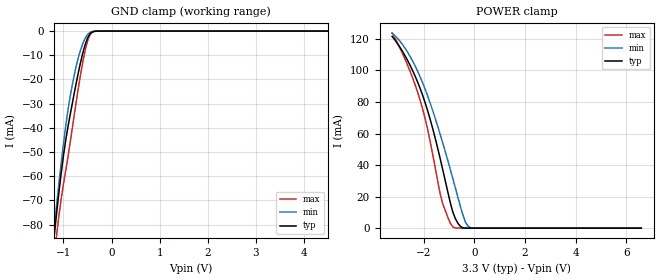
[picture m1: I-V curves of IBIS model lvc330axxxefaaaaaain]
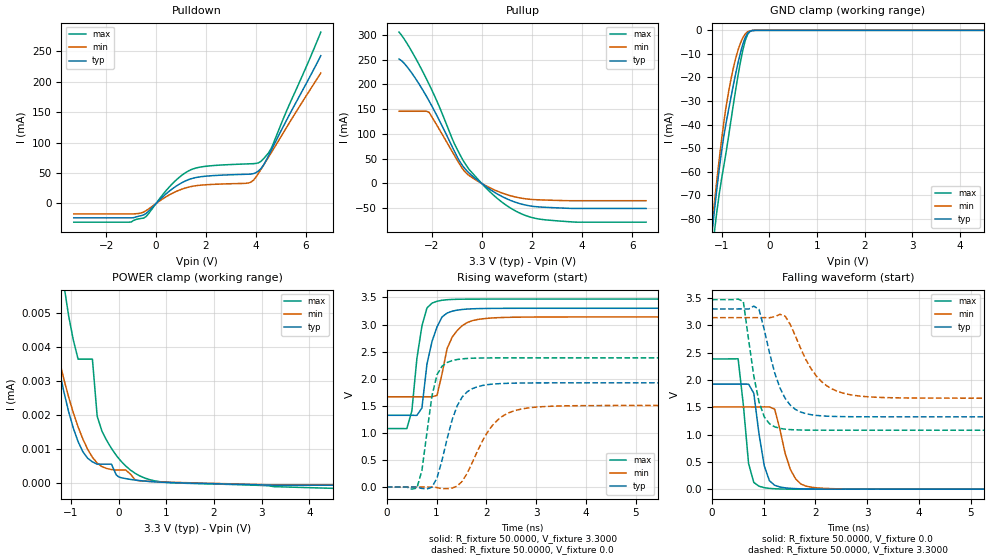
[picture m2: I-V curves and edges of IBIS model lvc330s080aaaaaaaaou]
| IBIS Models Generator: Lattice Diamond (64-bit) 3.14.0.75.2
| Generate date: Sat Mar 28 03:20:32 2026
| IBIS File LibisMaker.ibs
| LibisGen v2.0.1.0, 02/25/2008, Lattice Semiconductor Corporation
| Modified by LibisMaker v2.0.1.0, 02/25/2008, Lattice Semiconductor
| North Carolina State University, ERL, 2006
[IBIS ver]   3.2
[File Name]   Scope_impl1.ibs
[File Rev]   3.6
[Date]   Thu Aug  3 04:51:03 PDT 2023
[Source]   Lattice Semiconductor cs200fl Process
   LCMXO2-1200HC   FINAL
   Lattice Semiconductor has worked hard to ensure the
   models below are accurate and complete.  However, the
   data below was generated using simulation of the
   input/output model files for the silicon.  Therefore,
   the data below is for reference and initial design
   purposes only.
   Lattice Semiconductor grants permission to use this
   data for use in printed circuit design using this
   Lattice programmable logic device.  Other use of this
   code, including the selling or duplication of any
   portion is strictly prohibited.
|   NAMING CONVENTION
   The IBIS [Model] header is limited by the specification to a
   total of characters.  With such a set of characters available
   for naming models it becomes important to attempt to
   meaningfully encode the IO standards so they fit within the
   twenty character limit.  It would seem that twenty characters
   would provide room enough for describing IO's.  However, the
   PLD IO structure continues to grow more and more complex.  The
   complexity is making the twenty characters insuffiently
   descriptive.  In order to overcome this issue the naming
   convention described below is implemented to resolve the issue.
The twenty character space is managed as follows:
   bbbvvvsdddprugtcoixx
   b = standard
   v = voltage (x.xx V)
   s = slew code
   d = drive (xx.x ma)
   p = pullup code
   r = series resistance  or bank_vccio code
   u = terminate to vcc code
   g = terminate to gnd code
   t = terminate to vtt code
   c = common mode termination mode
   o = diff resistor code
   i = diff resistor current code
   x = reserved
   standard
   lvcmos   lvc
   lvcmosd   lvd
   lvcmosr   lvr
   lvds25e   lve
   lvttl   lvt
   lvttld   ltd
   pci   pci
   sstl_I   ss1
   sstl_II   ss2
   sstld_I   s1d
   sstld_II   s2d
   hstl_i   hs1
   hstl_ii   hs2
   hstld_i   h1d
   hstld_ii   h2d
   lvds25   lvs
   blvds25   blv
   blvds25e   blv
   mlvds25   mlv
   mlvds25e   mlv
   lvpecl33   lvp
   lvpecl33e   lvp
   rsds25   rsd
   rsds25e   rse
   mipi   mip
   mipi_lp   mip
   vref1   vr1
   vref2   vr2
   ref_res   rer
   slew
   na   a
   fast   f
   slow   s
   pullmode
   off   a
   pullup   b
   pulldown   c
   bushold   d
   clamp   e
   up_clamp   f
   down_clamp   g
   keeper_clamp   h
   impedance or Bank_vccio
   off   a
   25   b
   33   c
   50   d
   100   e
   3.3   f
   2.5   g
   1.8   h
   1.5   i
   1.2   j
   termVCC
   off   a
   50   b
   100   c
   120   d
   termGND
   off   a
   50   b
   100   c
   120   d
   termVTT
   off   a
   60   b
   75   c
   120   d
   150   e
   210   f
   VCMT
   off   a
   VCMT   b
   VTT   c
   DDR-2   d
   differential resistor
   off   a
   100   b
   diff drive
   NA   a
   2.0   b
   3.5   c
   1.25   f
   2.5   g
   Reserved   IO type
   in   input only
   ou   output
   io   I/O
   od   Open drain
   on   Inverting differential I/O
   (signal name only)
   op   Non-Inverting differential I/O
   (signal name only)
   Lattice Semiconductor Corporation
   5555 NE Moore Court
   Hillsboro, OR 97214
   U.S.A
   TEL: 1-800-Lattice (USA and Canada)
   408-826-6000 (other locations)
   web: http://www.latticesemi.com/
   email: techsupport@latticesemi.com
[Disclaimer] This IBIS source code is intended as a design reference
   which illustrates how the Lattice Semiconductor device operates.
   It is the user's responsibility to verify their design for
   consistency and functionality through the use of formal
   verification methods.  Lattice Semiconductor provides no warranty
   regarding the use or functionality of this data.
[Copyright]   Copyright 2007 by Lattice Semiconductor Corporation
|   Component XO2
[Component]   XO2
[Manufacturer]   Lattice Semiconductor Corp.
[Package]
|TQFP100
| variable   typ   min   max
R_pkg   150.5m   124.0m   187.0m
L_pkg   6.27nH   5.50nH   7.16nH
C_pkg   0.95pF   0.87pF   1.07pF
[Pin] signal_name   model_name   R_pin   L_pin   C_pin
85   ch_data[0]   lvc330s080aaaaaaaaou
70   ch_data[10]   lvc330s080aaaaaaaaou
69   ch_data[11]   lvc330s080aaaaaaaaou
68   ch_data[12]   lvc330s080aaaaaaaaou
67   ch_data[13]   lvc330s080aaaaaaaaou
66   ch_data[14]   lvc330s080aaaaaaaaou
65   ch_data[15]   lvc330s080aaaaaaaaou
64   ch_data[16]   lvc330s080aaaaaaaaou
63   ch_data[17]   lvc330s080aaaaaaaaou
62   ch_data[18]   lvc330s080aaaaaaaaou
61   ch_data[19]   lvc330s080aaaaaaaaou
84   ch_data[1]   lvc330s080aaaaaaaaou
60   ch_data[20]   lvc330s080aaaaaaaaou
59   ch_data[21]   lvc330s080aaaaaaaaou
58   ch_data[22]   lvc330s080aaaaaaaaou
57   ch_data[23]   lvc330s080aaaaaaaaou
54   ch_data[24]   lvc330s080aaaaaaaaou
53   ch_data[25]   lvc330s080aaaaaaaaou
52   ch_data[26]   lvc330s080aaaaaaaaou
51   ch_data[27]   lvc330s080aaaaaaaaou
43   ch_data[28]   lvc330s080aaaaaaaaou
42   ch_data[29]   lvc330s080aaaaaaaaou
83   ch_data[2]   lvc330s080aaaaaaaaou
41   ch_data[30]   lvc330s080aaaaaaaaou
40   ch_data[31]   lvc330s080aaaaaaaaou
82   ch_data[3]   lvc330s080aaaaaaaaou
78   ch_data[4]   lvc330s080aaaaaaaaou
77   ch_data[5]   lvc330s080aaaaaaaaou
76   ch_data[6]   lvc330s080aaaaaaaaou
75   ch_data[7]   lvc330s080aaaaaaaaou
74   ch_data[8]   lvc330s080aaaaaaaaou
71   ch_data[9]   lvc330s080aaaaaaaaou
87   hract   lvc330s080aaaaaaaaou
88   hrclk   lvc330s080aaaaaaaaou
39   hrvld   lvc330s080aaaaaaaaou
38   htack   lvc330axxxefaaaaaain
86   htclk   lvc330axxxefaaaaaain
| Models and submodels in the file (2): lvc330axxxefaaaaaain (Input), lvc330s080aaaaaaaaou (Output)
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[Model]   lvc330axxxefaaaaaain
Model_type   Input
Polarity   Non-Inverting
Enable   Active-Low
Vinl =   0.8000V
Vinh =   2.0000V
C_comp   4.2000pF   3.8000pF   7.5000pF
[Temperature Range]   25.0000   0.1250k   -40.0000
[Voltage Range]   3.3000V   3.1400V   3.4700V
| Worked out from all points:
|   GND clamp passes 1 mA (typ) near -0.44 V on its own axis
|   POWER clamp passes 1 mA (typ) near -0.54 V on its own axis
[GND_clamp]
|Voltage   I(typ)   I(min)   I(max)
-3.3V     -955.3mA   -930.3mA   -978mA
-1.2V     -86.18mA   -82.93mA   -94.91mA
-1.15V    -76.73mA   -73.29mA   -85.74mA
-1.1V     -67.71mA   -63.95mA   -77.28mA
-1V       -51.52mA   -46.57mA   -63.21mA
-900mV    -38.87mA   -31.88mA   -51.26mA
-800mV    -28.25mA   -20.58mA   -37.97mA
-700mV    -18.1mA    -11.63mA   -24.81mA
-600mV    -9.267mA   -5.265mA   -13.06mA
-450mV    -1.181mA   -586.6uA   -1.592mA
-250mV    -3.532uA   -4.055uA   -3.003uA
6.6V      0A         0A         0A
[POWER_clamp]
|Voltage   I(typ)   I(min)   I(max)
-3.25V    121.6mA    123.7mA    123.8mA
-2.55V    103.6mA    109.2mA    99.91mA
-2.05V    84.55mA    92.42mA    76.01mA
-1.85V    74.75mA    84.09mA    62.98mA
-1.65V    63.47mA    74.86mA    47.24mA
-1.35V    44.14mA    59.56mA    21.79mA
-1.25V    37.23mA    54.16mA    15.46mA
-850mV    10.22mA    31.49mA    813uA
-650mV    3.122mA    19.66mA    19.66uA
-350mV    37.56uA    3.815mA    1.535uA
-150mV    934.2nA    336.7uA    1.026uA
6.6V      -57.56nA   -49.34nA   -232.5nA
[Model]   lvc330s080aaaaaaaaou
Model_type   Output
Polarity   Non-Inverting
Enable   Active-Low
Vmeas =   1.500000V
Cref =   0.0F
Rref =   1.0000M
Vref =   0.0V
C_comp   4.2000pF   3.8000pF   7.5000pF
[Temperature Range]   25.0000   0.1250k   -40.0000
[Voltage Range]   3.3000V   3.1400V   3.4700V
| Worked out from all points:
|   slope of the pulldown table from 0 to 0.495 V, typ, clamps not added: 26 ohm
|   slope of the pullup table from 0 to 0.495 V, typ, clamps not added: 28.5 ohm
|   GND clamp passes 1 mA (typ) near -0.44 V on its own axis
|   rising waveform, R_fixture 50.0000, V_fixture 3.3000: 20-80 % time 251ps typ, 301ps min, 192ps max; typ from 1.32 V to 3.3 V
|   rising waveform, R_fixture 50.0000, V_fixture 0.0: 20-80 % time 363ps typ, 551ps min, 235ps max; typ from 0 V to 1.92 V
|   falling waveform, R_fixture 50.0000, V_fixture 0.0: 20-80 % time 188ps typ, 267ps min, 144ps max; typ from 1.92 V to 0 V
|   falling waveform, R_fixture 50.0000, V_fixture 3.3000: 20-80 % time 370ps typ, 535ps min, 253ps max; typ from 3.3 V to 1.32 V
[Pulldown]
|Voltage   I(typ)   I(min)   I(max)
-3.3V     -23.68mA   -17.2mA    -30.83mA
-1.1V     -23.68mA   -17.2mA    -30.83mA
-500mV    -18.89mA   -14.22mA   -24.07mA
-400mV    -16.44mA   -11.92mA   -21.58mA
600mV     22.43mA    15.62mA    30.22mA
1.3V      39.15mA    26.81mA    53.52mA
2V        44.82mA    30.69mA    61.1mA
3.7V      48.02mA    33.59mA    65.1mA
3.9V      48.94mA    38.13mA    65.35mA
4.2V      57.11mA    55.89mA    69.15mA
4.6V      86.19mA    82.47mA    89.45mA
6.6V      242.9mA    214.5mA    281.7mA
[Pullup]
|Voltage   I(typ)   I(min)   I(max)
-3.3V     251.3mA    145.8mA    305.6mA
-2.8V     223.5mA    145.8mA    267.3mA
-2.1V     166.4mA    143.5mA    200mA
-1.7V     127.9mA    109.7mA    155.7mA
-1.1V     65.82mA    57.34mA    80.93mA
-700mV    31.56mA    25.14mA    42.75mA
100mV     -3.836mA   -2.847mA   -5.414mA
800mV     -26.11mA   -19.07mA   -37.53mA
1.5V      -40.43mA   -28.94mA   -59.42mA
2.3V      -47.34mA   -33.02mA   -71.88mA
3.8V      -50.39mA   -34.76mA   -78.11mA
6.55V     -50.39mA   -34.76mA   -78.11mA
[GND_clamp]
|Voltage   I(typ)   I(min)   I(max)
-3.3V     -955.3mA   -930.3mA   -978mA
-1.2V     -86.18mA   -82.93mA   -94.91mA
-1.15V    -76.73mA   -73.29mA   -85.74mA
-1.1V     -67.71mA   -63.95mA   -77.28mA
-1V       -51.52mA   -46.57mA   -63.21mA
-900mV    -38.87mA   -31.88mA   -51.26mA
-800mV    -28.25mA   -20.58mA   -37.97mA
-700mV    -18.1mA    -11.63mA   -24.81mA
-600mV    -9.267mA   -5.265mA   -13.06mA
-450mV    -1.181mA   -586.6uA   -1.592mA
-250mV    -3.532uA   -4.055uA   -3.003uA
6.6V      0A         0A         0A
[POWER_clamp]
|Voltage   I(typ)   I(min)   I(max)
-3.25V    664.8uA    749.4uA    597.1uA
-1.55V    5.914uA    5.712uA    11.4uA
-1.45V    4.987uA    4.974uA    9.751uA
-1.15V    2.703uA    3.073uA    5.863uA
-850mV    1.226uA    1.662uA    3.655uA
-550mV    631.3nA    766.5nA    3.655uA
-450mV    563.6nA    595.5nA    1.977uA
-150mV    563.6nA    404.4nA    1.026uA
0V        190.5nA    391.2nA    734.7nA
450mV     79.23nA    72.94nA    213.9nA
950mV     30.32nA    38.42nA    33.55nA
6.6V      -57.56nA   -49.34nA   -232.5nA
[Ramp]
| variable   typ   min   max
dV/dt_r  1.1542/0.3590n   0.9035/0.5460n   1.4308/0.2329n
dV/dt_f  1.1855/0.3662n   0.8843/0.5297n   1.4345/0.2507n
R_load = 50.0000
[Rising Waveform]
R_fixture=   50.0000
V_fixture=   3.3000
V_fixture_min=   3.1400
V_fixture_max=   3.4700
|time   V(typ)   V(min)   V(max)
0s        1.324V     1.666V     1.079V
404ps     1.324V     1.666V     1.079V
505.1ps   1.324V     1.666V     1.407V
606.1ps   1.323V     1.666V     2.373V
707.1ps   1.46V      1.666V     2.973V
808.1ps   2.269V     1.667V     3.306V
1.01ns    2.956V     1.691V     3.43V
1.313ns   3.246V     2.765V     3.463V
1.818ns   3.293V     3.091V     3.469V
10ns      3.3V       3.14V      3.47V
[Rising Waveform]
R_fixture=   50.0000
V_fixture=   0.0
V_fixture_min=   0.0
V_fixture_max=   0.0
|time   V(typ)   V(min)   V(max)
0s        830nV      1.065uV    812.2nV
606.1ps   -647.3uV   2.343uV    -19.28mV
707.1ps   -25.56mV   18.24uV    307.2mV
909.1ps   -1.644mV   -352.6uV   1.685V
1.01ns    168.3mV    -10.05mV   2.075V
1.313ns   1.24V      -19.03mV   2.334V
1.717ns   1.816V     450.2mV    2.378V
2.121ns   1.9V       1.136V     2.384V
2.727ns   1.921V     1.444V     2.385V
10ns      1.924V     1.506V     2.385V
[Falling Waveform]
R_fixture=   50.0000
V_fixture=   0.0
V_fixture_min=   0.0
V_fixture_max=   0.0
|time   V(typ)   V(min)   V(max)
0s        1.924V     1.506V     2.385V
505.1ps   1.924V     1.506V     2.387V
707.1ps   1.923V     1.506V     469.1mV
808.1ps   1.757V     1.506V     123.1mV
1.01ns    427.9mV    1.507V     27.45mV
1.212ns   71.02mV    1.464V     7.412mV
1.414ns   24.43mV    655.3mV    2.129mV
1.616ns   9.884mV    189mV      652.9uV
1.919ns   2.628mV    35.9mV     184.5uV
10ns      -6.753uV   -8.585uV   -14.06uV
[Falling Waveform]
R_fixture=   50.0000
V_fixture=   3.3000
V_fixture_min=   3.1400
V_fixture_max=   3.4700
|time   V(typ)   V(min)   V(max)
0s        3.3V       3.14V      3.47V
606.1ps   3.3V       3.14V      3.436V
808.1ps   3.351V     3.14V      2.072V
909.1ps   3.292V     3.14V      1.597V
1.111ns   2.497V     3.138V     1.198V
1.313ns   1.855V     3.2V       1.113V
1.616ns   1.458V     2.796V     1.086V
2.02ns    1.35V      2.067V     1.08V
2.626ns   1.327V     1.737V     1.079V
10ns      1.324V     1.666V     1.079V
